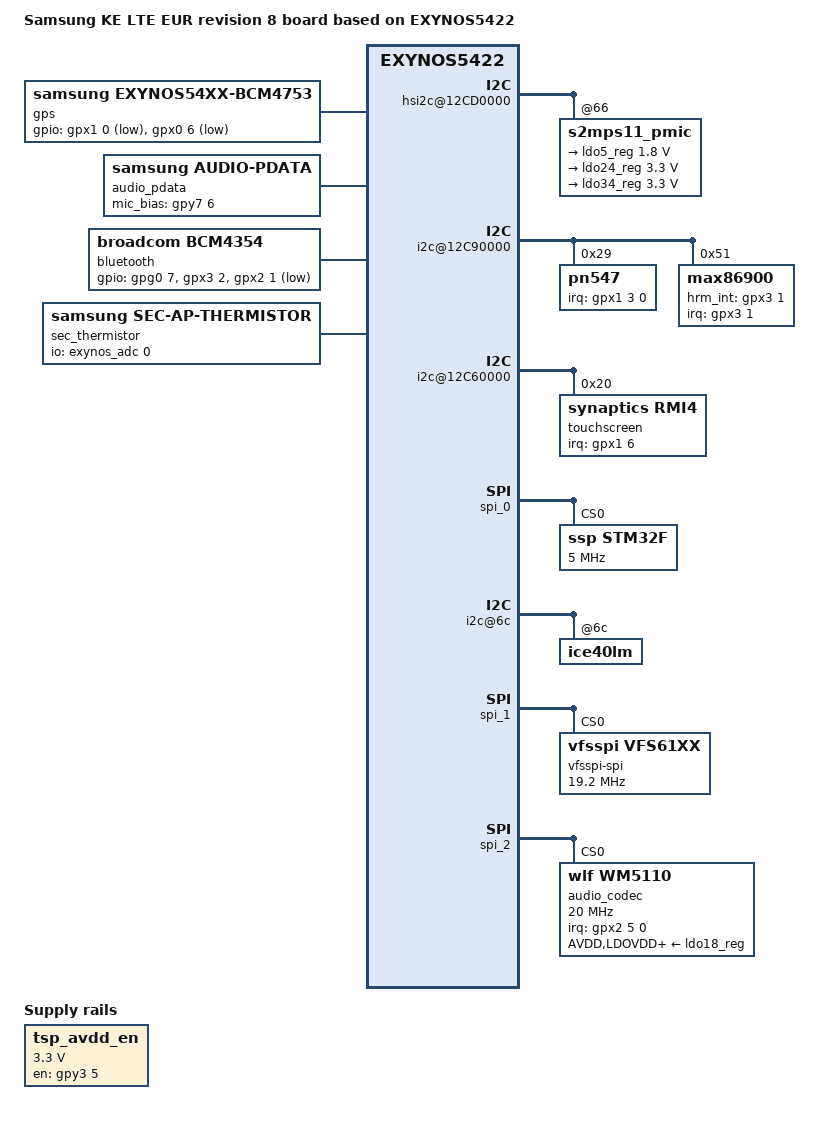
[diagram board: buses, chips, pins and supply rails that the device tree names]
/*
 * SAMSUNG universal5422 board device tree source
 *
 * Copyright (c) 2013 Samsung Electronics Co., Ltd.
 *             http://www.samsung.com
 *
 * This program is free software; you can redistribute it and/or modify
 * it under the terms of the GNU General Public License version 2 as
 * published by the Free Software Foundation.
*/

/dts-v1/;
#include "exynos5422_evt0-k3g_common.dtsi"
#include "exynos5422-k_battery_03.dtsi"
#include "exynos5-sec_modem-m7450.dtsi"
#include "exynos5422-klte_gpio.dtsi"

/ {
	model = "Samsung KE LTE EUR revision 8 board based on EXYNOS5422";
	model_info-chip = <5422>;
	model_info-platform = "kelte";
	model_info-subtype = "kelte_eur_open";
	model_info-hw_rev = <8>;
	model_info-hw_rev_end = <255>; /* If add new dts file for new hw , it is set to <x>. x is suppored max system revision by this dts */
	compatible = "samsung,KE LTE EUR,r00", "samsung,exynos5422";

	dwmmc2@12220000 {
		vmmc-en-gpio = <&gpy2 0 0x1>;
		vqmmc-en-gpio = <&gpy3 1 0x1>;
	};

	hsi2c@12CD0000 {
		s2mps11_pmic@66 {
			regulators {
				ldo5_reg: LDO5 {
					regulator-name = "HRM_1.8V_AP";
					regulator-min-microvolt = <1800000>;
					regulator-max-microvolt = <1800000>;
				};
				ldo24_reg: LDO24 {
					regulator-name = "VCC_3.3V_MHL";
					regulator-min-microvolt = <3300000>;
					regulator-max-microvolt = <3300000>;
				};
				ldo34_reg: LDO34 {
					regulator-name = "HRM_3.3V_AP";
					regulator-min-microvolt = <3300000>;
					regulator-max-microvolt = <3300000>;
				};
			};
		};
	};

	pinctrl@14010000 {
		uart1_rts: uart1-rts {
			samsung,pins = "gpa0-7";
			samsung,pin-function = <2>;
			samsung,pin-pud = <0>;
			samsung,pin-con-pdn = <1>;
			samsung,pin-pud-pdn = <0>;
		};

		uart1_cts: uart1-cts {
			samsung,pins = "gpa0-6";
			samsung,pin-function = <2>;
			samsung,pin-pud = <0>;
			samsung,pin-con-pdn = <2>;
			samsung,pin-pud-pdn = <1>;
		};

		uart1_tx: uart1-tx {
			samsung,pins = "gpa0-5";
			samsung,pin-function = <2>;
			samsung,pin-pud = <0>;
			samsung,pin-con-pdn = <2>;
			samsung,pin-pud-pdn = <3>;
		};

		uart1_rx: uart1-rx {
			samsung,pins = "gpa0-4";
			samsung,pin-function = <2>;
			samsung,pin-pud = <3>;
			samsung,pin-con-pdn = <2>;
			samsung,pin-pud-pdn = <3>;
		};

		nfc_cfg: nfc-cfg {
	            samsung,pins = "gph0-6";
	            samsung,pin-function = <2>;
		};
	};

	serial@12C10000 {
		pinctrl-0 = <&uart1_rts &uart1_cts &uart1_tx &uart1_rx>;
	};

	gps {
		compatible = "samsung,exynos54xx-bcm4753";
		gpios = <&gpx1 0 0x1   /* GPS_EN */
             &gpx0 6 0xf   /* GPS_INT */
			>;
		status = "okay";
	};

	i2c@12C90000 {
		samsung,i2c-sda-delay = <100>;
		samsung,i2c-max-bus-freq = <400000>;
		#address-cells = <1>;
		#size-cells = <0>;
		status = "okay";

		pn547@29 {
			compatible = "pn547";
			reg = <0x29>;
			interrupts = <3 0 0>;
			interrupt-parent = <&gpx1>;

			pn547-en = <&gpg1 2 0x00>;
			pn547-firmware = <&gpg1 1 0x00>;
			pn547-irq = <&gpx1 3 0xf>;
			pn547-clk-req = <&gpx0 0 0xf>;
			pn547-clk-use = <1>;
			pinctrl-names = "default";
			pinctrl-0 = <&nfc_cfg>;
			clocks = <&clock 1217>;
			clock-names = "sclk_isp_sensor1";
		};

		max86900@51 {
			compatible = "max86900";
			reg = <0x51>;
			pinctrl-names = "default";
			pinctrl-0 = <&hrm_int>;
			interrupt-parent = <&gpx3>;
			interrupts = <1 0>;
			max86900,hrm_int-gpio = <&gpx3 1 0x00>;
		};

	};

	tsp_avdd_en {
		compatible = "regulator-fixed";
		regulator-name = "tsp_avdd_en";
		regulator-min-microvolt = <3300000>;
		regulator-max-microvolt = <3300000>;
		gpio = <&gpy3 5 0>;
		enable-active-high;
	};

	pinctrl@13400000 {
		attn_irq: attn-irq {
			samsung,pins = "gpx1-6";
			samsung,pin-function = <0xf>;
			samsung,pin-pud = <0>;
			samsung,pin-drv = <0>;
		};

		attn_input: attn-input {
			samsung,pins = "gpx1-6";
			samsung,pin-function = <0>;
			samsung,pin-pud = <1>;
			samsung,pin-drv = <0>;
		};
	};

	pinctrl@14010000 {
		i2c0_bus: i2c0-bus {
			samsung,pins = "gpb3-1", "gpb3-0";
			samsung,pin-function = <2>;
			samsung,pin-pud = <0>;
			samsung,pin-drv = <0>;
		};

		i2c_pdn_off: i2c-pdn_off {
			samsung,pins = "gpb3-1", "gpb3-0";
			samsung,pin-con-pdn = <2>;
			samsung,pin-pud-pdn = <1>;
		};

		i2c_pdn_sleep: i2c-pdn_sleep {
			samsung,pins = "gpb3-1", "gpb3-0";
			samsung,pin-con-pdn = <2>;
			samsung,pin-pud-pdn = <0>;
		};
	};

	i2c@12C60000 {
		samsung,i2c-sda-delay = <100>;
		samsung,i2c-max-bus-freq = <400000>;
		status = "okay";
		touchscreen@20 {
			compatible = "synaptics,rmi4";
			reg = <0x20>;
			pinctrl-names = "on_state", "off_state", "sleep_state";
			pinctrl-0 = <&attn_irq>;
			pinctrl-1 = <&attn_input &i2c_pdn_off>;
			pinctrl-2 = <&attn_irq &i2c_pdn_sleep>;
			synaptics,irq_gpio = <&gpx1 6 0>;
			synaptics,irq_type = <8200>;
			synaptics,max_coords = <1079 1919>;	/* x y */
			synaptics,num_lines = <29 16>;		/* rx tx */
			synaptics,regulator_dvdd = "tsp_io";
			synaptics,regulator_avdd = "tsp_avdd_en";
			synaptics,project_name = "K", "G900H";
		};
	};

	spi_0: spi@12d20000 {
		#address-cells = <1>;
		#size-cells = <0>;
		pinctrl-names = "default";
		pinctrl-0 = <&spi0_bus>;

		STM32F@0 {
			compatible = "ssp,STM32F";
			reg = <0>;
			spi-max-frequency = <5000000>;
			pinctrl-names = "default";
			pinctrl-0 = <&ssp_irq &ssp_irq2 &ssp_ap_int>;

			gpio-controller;
			#gpio-cells = <2>;
			ssp-irq = <&gpx3 3 0x00>;
			ssp-irq2 = <&gpx3 4 0x00>;
			ssp-ap-int = <&gpx3 0 0x00>;
			ssp-reset = <&gpg0 0 0x00>;
			ssp-acc-position = <6>;
			ssp-mag-position = <6>;
			ssp-sns-combination = <0>;
			ssp-ap-rev = <1>;

			controller-data {
				cs-gpio = <&gpa2 1 0>;
				samsung,spi-feedback-delay = <0>;
			};
		};
	};

	/* ice40lm using ldo */
	i2c@6c {
		ice40lm@6c {
			ice40lm,ir_en = <&gpy5 0 0>;
			ice40lm,power = "LDO";
			/delete-property/ ice40lm,regulator_name;
		};
	};

	/* hall WA needless */
	hall {
		hall,gsm_wa = <0>;
	};

	/* fingerprint sensor pin control */
	pinctrl@13400000 {
		ocp_flag: ocf-flag {
			samsung,pins = "gpx2-3";
			samsung,pin-function = <0>;
			samsung,pin-pud = <3>;
			samsung,pin-drv = <3>;
		};
		btp_irq: btp-irq {
			samsung,pins = "gpx3-5";
			samsung,pin-function = <0>;
			samsung,pin-pud = <3>;
			samsung,pin-drv = <3>;
		};
		btp_irqsleep: btp-irqsleep {
			samsung,pins = "gpx3-5";
			samsung,pin-function = <0>;
			samsung,pin-pud = <1>;
			samsung,pin-drv = <0>;
		};
	};

	pinctrl@13410000 {
		btp_reset: btp-reset {
			samsung,pins = "gpd1-1";
			samsung,pin-function = <1>;
			samsung,pin-pud = <1>;
			samsung,pin-drv = <0>;
		};
		btp_ldo: btp-ldo {
			samsung,pins = "gpy4-0";
			samsung,pin-function = <1>;
			samsung,pin-pud = <1>;
			samsung,pin-drv = <0>;
		};
		ocp_en: ocp-en {
			samsung,pins = "gpy5-5";
			samsung,pin-function = <1>;
			samsung,pin-pud = <1>;
			samsung,pin-drv = <0>;
		};
	};

	pinctrl@14010000 {
		spi1_bus: spi1-bus {
			samsung,pin-drv = <3>;
		};

		spi1_cs: spi1-cs {
			samsung,pin-drv = <3>;
		};
	};

	spi_1: spi@12d30000 {
		/delete-property/ dma-mode;
		/delete-property/ dmas;
		/delete-property/ dma-names;
		#address-cells = <1>;
		#size-cells = <0>;
		pinctrl-names = "default";
		pinctrl-0 = <&spi1_bus>;

		vfsspi-spi@0 {
			compatible = "vfsspi,vfs61xx";
			reg = <0>;
			spi-max-frequency = <19200000>;
			pinctrl-names = "default", "sleep", "idle";
			pinctrl-0 = <&btp_irqsleep &btp_reset &btp_ldo &ocp_flag &ocp_en>;
			pinctrl-1 = <&btp_irqsleep>;
			pinctrl-2 = <&btp_irq>;

			gpio-controller;
			#gpio-cells = <2>;

			vfsspi-sleepPin = <&gpd1 1 0x00>;
			vfsspi-drdyPin = <&gpx3 5 0x00>;
			vfsspi-ldoPin = <&gpy4 0 0x00>;
			/* vfsspi-ocpflag = <&gpx2 3 0x00>; */
			vfsspi-ocpen = <&gpy5 5 0x00>;
			vfsspi-ldocontrol = <1>;
			vfsspi-orient = <1>;
			vfsspi-irqpincon = <1>; /* 1: K3G(5422), 2: KQ(5430) */

			controller-data {
				cs-gpio = <&gpa2 5 0 0 3>;
				samsung,spi-feedback-delay = <0>;
			};
		};
	};

	/* Modem_IF: LTE ERICSSON M7450 */
	mif_sipc5 {
		compatible = "sec_modem,modem_pdata";
		status = "okay";
		pinctrl-names = "default";
		pinctrl-0 = <&cp_on &ap_dump_int &cp_reset>;

		mif,gpio_cp_on = <&gpg1 4 0x1>;		/* output */
		mif,gpio_cp_reset = <&gpj4 1 0x1>;
		mif,gpio_phone_active = <&gpx2 7 0xf>;	/* INT */
		mif,gpio_ap_dump_int = <&gpg1 6 0x1>;
		mif,gpio_cp_dump_int = <&gpx1 7 0x0>;	/* intput */
		mif,gpio_pda_active = <&gpg1 7 0x1>;	/* output */
	};

	/* Modem_IF: LTE ERICSSON M7450 */
	link_pm_hsic {
		compatible = "sec_modem,linkpm_pdata";
		status = "okay";
		pinctrl-names = "default";
		pinctrl-0 = <&link_active &link_slavewake>;

		linkpm,gpio_link_active = <&gpg1 3 0x1>;
		linkpm,gpio_link_hostwake = <&gpx1 2 0xf>;
		linkpm,gpio_link_slavewake = <&gpg1 0 0x1>;
		linkpm,gpio_link_cp2ap_status = <&gpx3 6 0xf>;
	};

	pinctrl@14000000 {
		link_slavewake: link_slavewake {
			samsung,pins = "gpg1-0";
			samsung,pin-function = <1>;
			samsung,pin-con-pdn = <3>;	/* Previous state */
			samsung,pin-pud-pdn = <1>;	/* PD enable */
		};
		link_active: link_active {
			samsung,pins = "gpg1-3";
 			samsung,pin-function = <1>;
 			samsung,pin-con-pdn = <3>;
			samsung,pin-pud-pdn = <1>;
 		};
		cp_on: cp_on {
 			samsung,pins = "gpg1-4";
 			samsung,pin-function = <1>;
			samsung,pin-con-pdn = <3>;
 			samsung,pin-pud-pdn = <0>;	/* PU/PD disable */
 		};
 		ap_dump_int: ap_dump_int {
			samsung,pins = "gpg1-6";
			samsung,pin-function = <1>;
			samsung,pin-con-pdn = <3>;
			samsung,pin-pud-pdn = <1>;
		};
		cp_reset: cp_reset {
			samsung,pins = "gpj4-1";
			samsung,pin-function = <1>;
			samsung,pin-con-pdn = <3>;
			samsung,pin-pud-pdn = <0>;
		};
	};

	spi_2: spi@12d40000 {
		#address-cells = <1>;
		#size-cells = <0>;
		pinctrl-names = "default";
		pinctrl-0 = <&spi2_bus>;

		audio_codec: wm5110@0 {
			compatible = "wlf,wm5110";
			reg = <0x0>;
			spi-max-frequency = <20000000>;
			interrupts = <5 0 0>;
			interrupt-parent = <&gpx2>;

			gpio-controller;
			#gpio-cells = <2>;

			pinctrl-names ="default";
			pinctrl-0 = <&codec_reset &codec_ldoena &audio_ctrl>;

			wlf,reset = <&gpg2 0 0>;
			wlf,ldoena = <&gpg0 1 0>;
			wlf,init-mic-delay = <30>;
			wlf,micd-detect-debounce = <300>;
			wlf,micd-bias-start-time = <0x1>;
			wlf,micd-rate = <0x7>;
			wlf,micd-dbtime = <0x1>;
			wlf,micd-timeout = <1000>;
			wlf,micd-force-micbias;
			wlf,micd-ranges = <
				139 226
				295 115
				752 114
				1257 217
			>;

			wlf,micd-configs = <
				0x0 1 0
			>;

			wlf,micbias1 = <2800 0 1 0 0>;
			wlf,micbias2 = <1800 0 1 0 0>;
			wlf,micbias3 = <1800 0 1 0 0>;

			wlf,gpio-defaults = <
				0xA101
				0xA101
				0xA101
				0xA101
				0x8101
			>;

			wlf,gpsw = <0x3>;
			wlf,micd-software-compare;
			wlf,micd-open-circuit-declare = <1>;

			wlf,max-channels-clocked = <2 0 0>;
			/* 0:MICVDD 1:MICBIAS1 2:MICBIAS2 3:MICBIAS3 */
			wlf,dmic-ref = <2 1 3 2>;
			/* 1st cell:IN1 2rd cell:IN2 3nd cell:IN3 4th cell:IN4 */
			wlf,inmode = <2 0 2 2>;

			AVDD-supply = <&ldo18_reg>;
			LDOVDD-supply = <&ldo18_reg>;
			DBVDD1-supply = <&ldo18_reg>;

			CPVDD-supply = <&ldo18_reg>;
			DBVDD2-supply = <&ldo18_reg>;
			DBVDD3-supply = <&ldo18_reg>;
			SPKVDDL-supply = <&ldo18_reg>;
			SPKVDDR-supply = <&ldo18_reg>;

			adsps {
				#address-cells = <1>;
				#size-cells = <0>;

				adsp@1100 {
					reg = <0x1100>;
					firmware {
						EDAC {
							wlf,wmfw-file = "edac";
							wlf,bin-file = "edac";
						};
						TRACE {
							wlf,wmfw-file = "trace";
							wlf,compr-caps = <1 8 0x4 1 8000 16000 24000>;
						};
					};
				};
				adsp@1200 {
					reg = <0x1200>;
					firmware {
						TX_NB {
							wlf,wmfw-file = "tx-nb";
						};
						TX_WB {
							wlf,wmfw-file = "tx-wb";
						};
						TX_SWB_INTERVIEW {
							wlf,wmfw-file = "tx-swb";
						};
						TX_SWB_CONVERSATION {
							wlf,wmfw-file = "tx-swb";
						};
					};
				};
				adsp@1300 {
					reg = <0x1300>;
					firmware {
						TX_NB {
							wlf,wmfw-file = "tx-nb";
							wlf,bin-file = "tx-nb";
						};
						TX_WB {
							wlf,wmfw-file = "tx-wb";
							wlf,bin-file = "tx-wb";
						};
						TX_SWB_INTERVIEW {
							wlf,wmfw-file = "tx-swb";
							wlf,bin-file = "tx-swb-interview";
						};
						TX_SWB_CONVERSATION {
							wlf,wmfw-file = "tx-swb";
							wlf,bin-file = "tx-swb-conversation";
						};
						VOICECONTROL {
							wlf,wmfw-file = "ez2-control";
							wlf,bin-file = "ez2-control";
						};
						LPSD {
							wlf,wmfw-file = "ez2-control";
							wlf,bin-file = "lpsd-control";
						};
					};
				};
				adsp@1400 {
					reg = <0x1400>;
					firmware {
						RX_NB {
							wlf,wmfw-file = "rx-anc-nb";
							wlf,bin-file = "rx-anc-nb";
						};
						RX_WB {
							wlf,wmfw-file = "rx-anc-wb";
							wlf,bin-file = "rx-anc-wb";
						};
					};
				};
			};
			controller-data {
				cs-gpio = <&gpb1 2 0>;
				samsung,spi-feedback-delay = <0>;
			};
		};
	};

	audio_pdata {
		compatible = "samsung,audio-pdata";

		mic_bias_gpio = <&gpy7 6 0>;
		status = "okay";
	};

	pinctrl@13400000 {
		audio_ctrl: audio-ctl {
			samsung,pins = "gpy7-6";
			samsung,pin-con-pdn = <3>;
		};
	};

	pinctrl@14000000 {
		codec_reset: codec-reset {
			samsung,pins ="gpg2-0";
			samsung,pin-function = <1>;
			samsung,pin-pud = <1>;
			samsung,pin-con-pdn =<3>;
			samsung,pin-pud-pdn = <1>;
		};
		codec_ldoena: codec-ldoena {
			samsung,pins ="gpg0-1";
			samsung,pin-con-pdn =<3>;
		};
	};

	pinctrl@14010000 {
		uart0_rts: uart0-rts {
			samsung,pins = "gpa0-3";
			samsung,pin-function = <2>;
			samsung,pin-pud = <3>;
			samsung,pin-con-pdn = <1>;
			samsung,pin-pud-pdn = <3>;
		};

		uart0_cts: uart0-cts {
			samsung,pins = "gpa0-2";
			samsung,pin-function = <2>;
			samsung,pin-pud = <3>;
			samsung,pin-con-pdn = <2>;
			samsung,pin-pud-pdn = <3>;
		};

		uart0_tx: uart0-tx {
			samsung,pins = "gpa0-1";
			samsung,pin-function = <2>;
			samsung,pin-pud = <3>;
			samsung,pin-con-pdn = <1>;
			samsung,pin-pud-pdn = <3>;
		};

		uart0_rx: uart0-rx {
			samsung,pins = "gpa0-0";
			samsung,pin-function = <2>;
			samsung,pin-pud = <3>;
			samsung,pin-con-pdn = <2>;
			samsung,pin-pud-pdn = <3>;
		};
	};

/*
			samsung,pins = "gpa0-0";

			samsung,pin-function = <2>;
			0 : input, 1 : output 2 : special_function

			samsung,pin-pud = <0>;
			0 : reserved 1 : pull down 2 : reserved 3 : pull up

			samsung,pin-con-pdn = <2>;
			0 : output0 1 : output1 2: input 3: previous state

			samsung,pin-pud-pdn = <0>;
			0 : pull up/down disable 1 : pull down 2 : reserved 3 : pull up
*/

	serial@12C00000 {
		pinctrl-0 = <&uart0_rts &uart0_cts &uart0_tx &uart0_rx>;
	};

	pinctrl@14000000 {
		cfg_en: cfg-en {
			samsung,pins ="gpg0-7";
			samsung,pin-function = <1>;
			samsung,pin-pud = <1>;
			samsung,pin-con-pdn = <3>;
			samsung,pin-pud-pdn = <1>;
		};
	};

	pinctrl@13400000 {
		cfg_hostwake: cfg-hostwake {
			samsung,pins = "gpx2-1";
			samsung,pin-function = <0>;
			samsung,pin-pud = <2>;
			samsung,pin-con-pdn = <2>;
			samsung,pin-pud-pdn = <0>;
		};

		cfg_btwake: cfg-btwake {
			samsung,pins = "gpx3-2";
			samsung,pin-function = <1>;
			samsung,pin-pud = <1>;
			samsung,pin-con-pdn = <0>;
			samsung,pin-pud-pdn = <1>;
		};
	};

	bluetooth {
		compatible = "broadcom,bcm4354";

		gpios = <&gpg0 7 0	/*BT_EN*/
				&gpx3 2 0	/*BT_WAKE*/
				&gpx2 1 0xF	/*BT_HOST_WAKE*/ >;

		pinctrl-names = "default";
		pinctrl-0=<&cfg_hostwake &cfg_btwake &cfg_en>;
		status = "okay";
	};

	usb_notifier {
		gpios_redriver_en = <&gpy7 5 0x1>; /* USB3.0_REDRIVER_EN */
	};

	sec_thermistor {
		compatible = "samsung,sec-ap-thermistor";
		status = "okay";

		adc_array = <261 269 277 285 293 301 309 317 325 333 341 351 361 372 382 392 409 426 443 460
				 475 494 513 532 551 569 585 601 617 633 648 698 748 772 796 821 859 898 936 975
				 1013 1038 1063 1099 1135 1172 1199 1226 1271 1316 1361 1399 1437 1472 1507 1541
				 1590 1639 1679 1719 1760 1803 1846 1890 1934 1977 2019 2061 2103 2145 2186 2225
				 2264 2303 2342 2381 2420 2459 2498 2537 2577 2613 2649 2685 2721 2757 2793 2830
				 2866 2903 2940 2968 2996 3024 3052 3080 3108 3136 3164 3192 3217 3237 3258 3278
				 3299 3319 3340 3360 3381 3401 3422>;

		temp_array = <900 890 880 870 860 850 840 830 820 810 800 790 780 770 760 750 740 730 720 710
				  700 690 680 670 660 650 640 630 620 610 600 590 580 570 560 550 540 530 520 510
				  500 490 480 470 460 450 440 430 420 410 400 390 380 370 360 350 340 330 320 310
				  300 290 280 270 260 250 240 230 220 210 200 190 180 170 160 150 140 130 120 110
				  100 90 80 70 60 50 40 30 20 10 0 (-10) (-20) (-30) (-40) (-50) (-60) (-70) (-80)
				  (-90) (-100) (-110) (-120) (-130) (-140) (-150) (-160) (-170) (-180) (-190) (-200)>;

		io-channels = <&exynos_adc 0>;
		io-channel-names = "adc-ap-temp";
		io-channel-ranges;
	};

};
